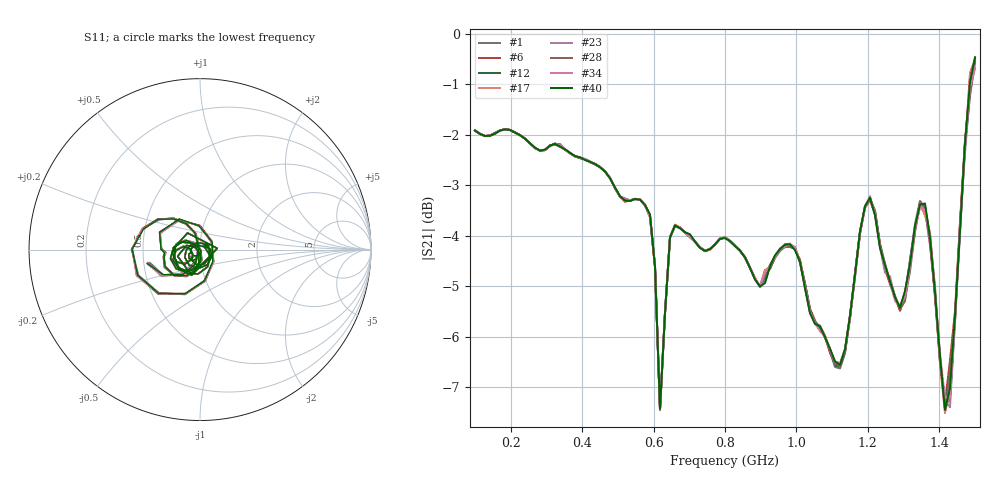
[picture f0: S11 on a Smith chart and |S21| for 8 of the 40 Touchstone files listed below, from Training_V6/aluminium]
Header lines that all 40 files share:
! NanoVNA-App
! Start: 100MHz Stop: 1,5GHz Points: 101
! S-Parameter data: F S11 S21 S12 S22
# Hz S RI R 50
!  Frequency  S11_Real  S11_Imag  S21_Real  S21_Imag  S12_Real  S12_Imag  S22_Real  S22_Imag
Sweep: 100 MHz to 1.5 GHz
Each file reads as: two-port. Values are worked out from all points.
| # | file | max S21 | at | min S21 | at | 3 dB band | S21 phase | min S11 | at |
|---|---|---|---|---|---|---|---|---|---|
| 1 | aluminium (1).s2p | -0.51 dB | 1.5 GHz | -7.5 dB | 618 MHz | 100 MHz-576 MHz | 126 deg at 800 MHz | -46.0 dB | 1.108 GHz |
| 2 | aluminium (2).s2p | -0.40 dB | 1.5 GHz | -7.4 dB | 618 MHz | 100 MHz-576 MHz | 126 deg at 800 MHz | -53.5 dB | 1.108 GHz |
| 3 | aluminium (3).s2p | -0.64 dB | 1.5 GHz | -7.5 dB | 1.43 GHz | 100 MHz-590 MHz | 126 deg at 800 MHz | -50.8 dB | 1.108 GHz |
| 4 | aluminium (4).s2p | -0.57 dB | 1.5 GHz | -7.5 dB | 1.416 GHz | 100 MHz-576 MHz | 126 deg at 800 MHz | -46.7 dB | 1.108 GHz |
| 5 | aluminium (5).s2p | -0.56 dB | 1.5 GHz | -7.4 dB | 618 MHz | 100 MHz-576 MHz | 126 deg at 800 MHz | -45.1 dB | 1.108 GHz |
| 6 | aluminium (6).s2p | -0.54 dB | 1.5 GHz | -7.4 dB | 618 MHz | 100 MHz-576 MHz | 126 deg at 800 MHz | -44.4 dB | 1.108 GHz |
| 7 | aluminium (7).s2p | -0.62 dB | 1.5 GHz | -7.4 dB | 618 MHz | 100 MHz-590 MHz | 126 deg at 800 MHz | -46.0 dB | 1.108 GHz |
| 8 | aluminium (8).s2p | -0.67 dB | 1.5 GHz | -7.4 dB | 618 MHz | 100 MHz-590 MHz | 126 deg at 800 MHz | -60.3 dB | 1.108 GHz |
| 9 | aluminium (9).s2p | -0.53 dB | 1.5 GHz | -7.4 dB | 618 MHz | 100 MHz-576 MHz | 126 deg at 800 MHz | -57.7 dB | 1.108 GHz |
| 10 | aluminium (10).s2p | -0.59 dB | 1.5 GHz | -7.4 dB | 1.43 GHz | 100 MHz-576 MHz | 126 deg at 800 MHz | -56.2 dB | 1.108 GHz |
| 11 | aluminium (11).s2p | -0.69 dB | 1.5 GHz | -7.4 dB | 618 MHz | 100 MHz-590 MHz | 126 deg at 800 MHz | -44.5 dB | 1.108 GHz |
| 12 | aluminium (12).s2p | -0.49 dB | 1.5 GHz | -7.4 dB | 618 MHz | 100 MHz-576 MHz | 126 deg at 800 MHz | -51.2 dB | 1.108 GHz |
| 13 | aluminium (13).s2p | -0.42 dB | 1.5 GHz | -7.4 dB | 618 MHz | 100 MHz-576 MHz | 126 deg at 800 MHz | -50.1 dB | 1.108 GHz |
| 14 | aluminium (14).s2p | -0.78 dB | 1.5 GHz | -7.4 dB | 618 MHz | 100 MHz-590 MHz | 126 deg at 800 MHz | -43.5 dB | 1.108 GHz |
| 15 | aluminium (15).s2p | -0.57 dB | 1.5 GHz | -7.5 dB | 1.416 GHz | 100 MHz-576 MHz | 126 deg at 800 MHz | -43.7 dB | 1.108 GHz |
| 16 | aluminium (16).s2p | -0.49 dB | 1.5 GHz | -7.4 dB | 618 MHz | 100 MHz-576 MHz | 126 deg at 800 MHz | -42.9 dB | 1.108 GHz |
| 17 | aluminium (17).s2p | -0.51 dB | 1.5 GHz | -7.5 dB | 1.416 GHz | 100 MHz-576 MHz | 126 deg at 800 MHz | -43.4 dB | 1.108 GHz |
| 18 | aluminium (18).s2p | -0.53 dB | 1.5 GHz | -7.4 dB | 618 MHz | 100 MHz-576 MHz | 126 deg at 800 MHz | -43.3 dB | 1.108 GHz |
| 19 | aluminium (19).s2p | -0.56 dB | 1.5 GHz | -7.4 dB | 618 MHz | 100 MHz-576 MHz | 126 deg at 800 MHz | -50.2 dB | 1.108 GHz |
| 20 | aluminium (20).s2p | -0.72 dB | 1.5 GHz | -7.4 dB | 618 MHz | 100 MHz-590 MHz | 126 deg at 800 MHz | -64.8 dB | 1.108 GHz |
| 21 | aluminium (21).s2p | -0.43 dB | 1.5 GHz | -7.4 dB | 618 MHz | 100 MHz-576 MHz | 126 deg at 800 MHz | -45.6 dB | 1.108 GHz |
| 22 | aluminium (22).s2p | -0.65 dB | 1.5 GHz | -7.4 dB | 618 MHz | 100 MHz-590 MHz | 126 deg at 800 MHz | -59.1 dB | 1.108 GHz |
| 23 | aluminium (23).s2p | -0.68 dB | 1.5 GHz | -7.4 dB | 618 MHz | 100 MHz-590 MHz | 126 deg at 800 MHz | -41.8 dB | 1.108 GHz |
| 24 | aluminium (24).s2p | -0.47 dB | 1.5 GHz | -7.4 dB | 618 MHz | 100 MHz-576 MHz | 126 deg at 800 MHz | -43.7 dB | 1.108 GHz |
| 25 | aluminium (25).s2p | -0.56 dB | 1.5 GHz | -7.4 dB | 618 MHz | 100 MHz-576 MHz | 126 deg at 800 MHz | -44.7 dB | 1.108 GHz |
| 26 | aluminium (26).s2p | -0.66 dB | 1.5 GHz | -7.4 dB | 618 MHz | 100 MHz-590 MHz | 126 deg at 800 MHz | -43.8 dB | 1.108 GHz |
| 27 | aluminium (27).s2p | -0.65 dB | 1.5 GHz | -7.4 dB | 618 MHz | 100 MHz-590 MHz | 126 deg at 800 MHz | -47.3 dB | 1.108 GHz |
| 28 | aluminium (28).s2p | -0.55 dB | 1.5 GHz | -7.4 dB | 618 MHz | 100 MHz-576 MHz | 126 deg at 800 MHz | -47.1 dB | 1.108 GHz |
| 29 | aluminium (29).s2p | -0.49 dB | 1.5 GHz | -7.4 dB | 618 MHz | 100 MHz-576 MHz | 126 deg at 800 MHz | -53.4 dB | 1.108 GHz |
| 30 | aluminium (30).s2p | -0.48 dB | 1.5 GHz | -7.4 dB | 618 MHz | 100 MHz-576 MHz | 126 deg at 800 MHz | -43.0 dB | 1.108 GHz |
| 31 | aluminium (31).s2p | -0.66 dB | 1.5 GHz | -7.4 dB | 618 MHz | 100 MHz-590 MHz | 126 deg at 800 MHz | -47.0 dB | 1.108 GHz |
| 32 | aluminium (32).s2p | -0.68 dB | 1.5 GHz | -7.4 dB | 618 MHz | 100 MHz-590 MHz | 126 deg at 800 MHz | -44.9 dB | 1.108 GHz |
| 33 | aluminium (33).s2p | -0.69 dB | 1.5 GHz | -7.4 dB | 618 MHz | 100 MHz-590 MHz | 126 deg at 800 MHz | -46.2 dB | 1.108 GHz |
| 34 | aluminium (34).s2p | -0.67 dB | 1.5 GHz | -7.4 dB | 618 MHz | 100 MHz-590 MHz | 126 deg at 800 MHz | -51.3 dB | 1.108 GHz |
| 35 | aluminium (35).s2p | -0.60 dB | 1.5 GHz | -7.4 dB | 618 MHz | 100 MHz-576 MHz | 126 deg at 800 MHz | -47.3 dB | 1.108 GHz |
| 36 | aluminium (36).s2p | -0.61 dB | 1.5 GHz | -7.5 dB | 1.43 GHz | 100 MHz-590 MHz | 126 deg at 800 MHz | -45.4 dB | 1.108 GHz |
| 37 | aluminium (37).s2p | -0.55 dB | 1.5 GHz | -7.4 dB | 618 MHz | 100 MHz-576 MHz | 126 deg at 800 MHz | -42.6 dB | 1.108 GHz |
| 38 | aluminium (38).s2p | -0.59 dB | 1.5 GHz | -7.4 dB | 618 MHz | 100 MHz-576 MHz | 126 deg at 800 MHz | -50.3 dB | 1.108 GHz |
| 39 | aluminium (39).s2p | -0.63 dB | 1.5 GHz | -7.4 dB | 618 MHz | 100 MHz-590 MHz | 126 deg at 800 MHz | -46.3 dB | 1.108 GHz |
| 40 | aluminium (40).s2p | -0.47 dB | 1.5 GHz | -7.5 dB | 1.416 GHz | 100 MHz-576 MHz | 126 deg at 800 MHz | -42.9 dB | 1.108 GHz |
